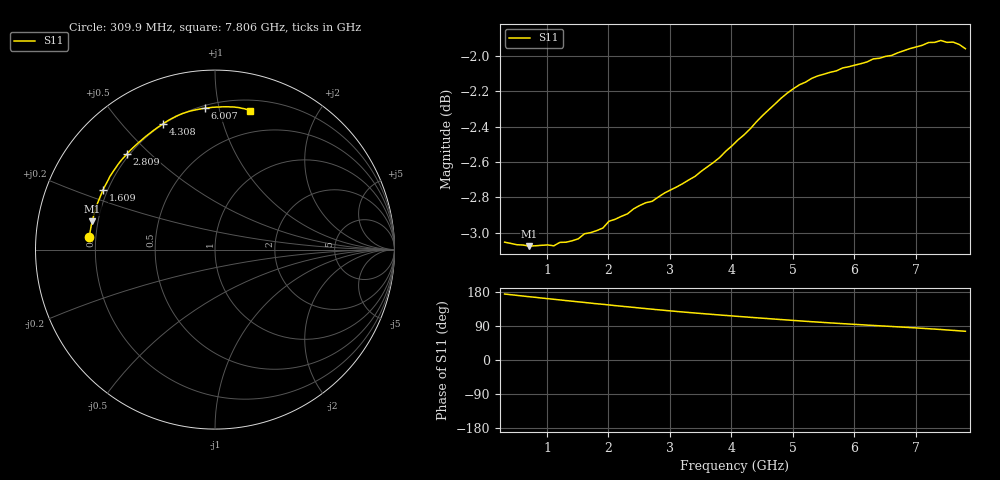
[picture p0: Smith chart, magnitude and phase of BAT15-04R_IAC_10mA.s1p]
! Infineon Technologies  Discrete & RF Semiconductors
! BAT15-04R
! IAC = 10 mA
! One-Port S-Parameters
# Hz  S  MA  R  50
!f  S11
!Hz  Mag  Ang
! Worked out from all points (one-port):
!   76 points, 309.9 MHz to 7.806 GHz, reference 50 ohm
!   lowest |S11| = -3.1 dB at 709.6 MHz (marker M1), VSWR 5.71, Z = 8.87 + j5.51 ohm
!   |S11| at or under -10 dB: nowhere
!   S11 on the Smith chart (normalised r, x): 309.9 MHz: 0.17, +0.05; 1.609 GHz: 0.18, +0.24; 2.809 GHz: 0.19, +0.43; 4.308 GHz: 0.20, +0.65; 6.007 GHz: 0.22, +0.91; 7.806 GHz: 0.29, +1.24
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3.0985e8  0.7037 174.1
6.097e8  0.7024 168.8
7.0965e8  0.7018 167.0
1.0095e9  0.7024 162.0
1.2094e9  0.7036 158.6
1.30935e9  0.7036 156.8
1.6092e9  0.7075 151.8
2.009e9  0.7133 145.3
2.2089e9  0.7156 141.9
2.50875e9  0.7207 137.2
2.8086e9  0.7246 132.6
3.0085e9  0.728 129.6
3.2084e9  0.731 126.7
3.70815e9  0.7411 120.1
4.10795e9  0.7521 115.1
4.30785e9  0.7576 112.6
4.4078e9  0.7611 111.5
4.70765e9  0.7699 107.8
5.0075e9  0.7776 104.4
5.4073e9  0.7841 100.0
5.8071e9  0.7881 95.9
6.007e9  0.7896 94.0
6.30685e9  0.7928 91.2
6.90655e9  0.7982 85.6
7.2064e9  0.8013 82.6
7.4063e9  0.8024 80.5
7.6062e9  0.8015 78.2
7.8061e9  0.7981 75.9
